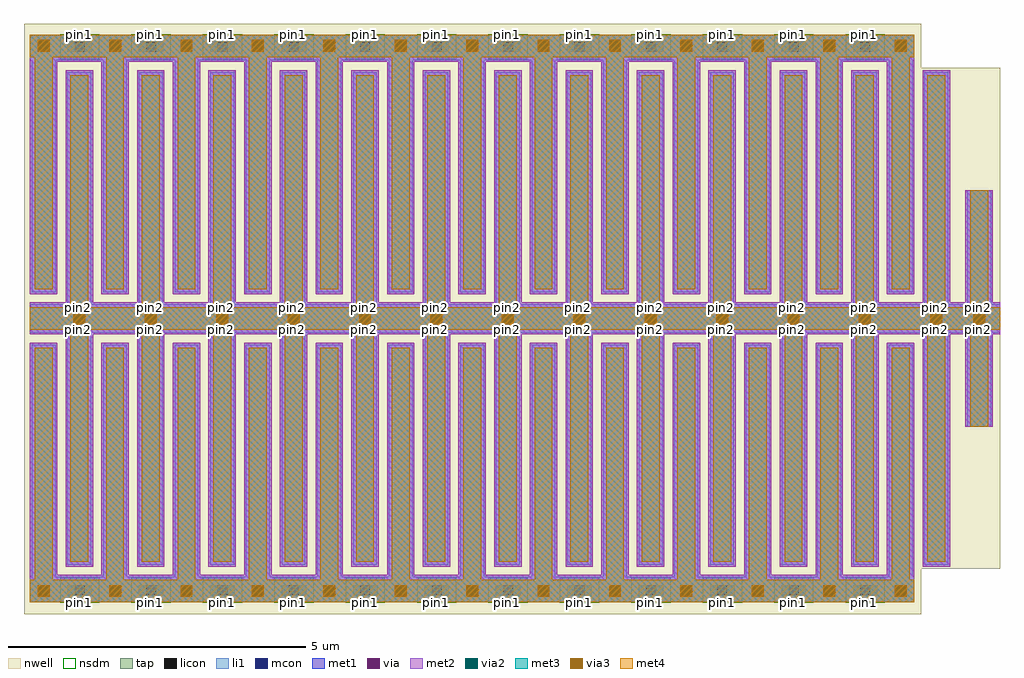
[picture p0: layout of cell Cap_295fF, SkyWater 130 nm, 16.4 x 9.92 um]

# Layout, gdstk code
import gdstk
lib = gdstk.Library(unit=1e-6, precision=1e-09)
def R(c, l, rs):  # rectangles x0, y0, x1, y1
    for r in rs: c.add(gdstk.rectangle(r[:2], r[2:], *l))
def A(c, l, x, y, w, h, nx, ny, dx, dy):  # array of equal rectangles
    R(c, l, [(x+i*dx, y+j*dy, x+i*dx+w, y+j*dy+h) for i in range(nx) for j in range(ny)])
nwell = (64, 20)
tap = (65, 44)
licon = (66, 44)
li1 = (67, 20)
mcon = (67, 44)
met1 = (68, 20)
via = (68, 44)
met2 = (69, 20)
via2 = (69, 44)
met3 = (70, 20)
via3 = (70, 44)
met4 = (71, 20)
nsdm = (93, 44)

cap_295ff = lib.new_cell('Cap_295fF')
R(cap_295ff, nwell, [(-0.18,-0.28,14.9,0.48), (-0.18,0.48,16.22,8.9), (-0.18,8.9,14.9,9.64)])
A(cap_295ff, tap, 0.55, 0.04, 0.41, 0.17, 12, 2, 1.2, 9.13)
A(cap_295ff, licon, 0.67, 0.04, 0.17, 0.17, 12, 2, 1.2, 9.13)
A(cap_295ff, li1, -0.05, 0.35, 0.4, 3.9, 13, 2, 1.2, 4.78)
A(cap_295ff, li1, 0.55, 0.55, 0.4, 3.9, 13, 2, 1.2, 4.38)
R(cap_295ff, li1, [(-0.08,-0.08,14.78,0.35), (15.67,2.87,16.07,4.45), (-0.08,4.45,16.22,4.93), (15.67,4.93,16.07,6.84), (-0.08,9.03,14.78,9.46)])
A(cap_295ff, mcon, 0.065, 0.025, 0.17, 0.17, 13, 2, 1.2, 9.16)
A(cap_295ff, mcon, 0.665, 4.605, 0.17, 0.17, 13, 1, 1.2, 0)
R(cap_295ff, mcon, [(15.785,4.605,15.955,4.775)])
A(cap_295ff, met1, -0.08, 0.38, 0.46, 3.9, 13, 2, 1.2, 4.72)
A(cap_295ff, met1, 0.52, 0.52, 0.46, 3.9, 13, 2, 1.2, 4.44)
R(cap_295ff, met1, [(-0.08,-0.08,14.78,0.38), (15.64,2.87,16.1,4.42), (-0.08,4.42,16.22,4.96), (15.64,4.96,16.1,6.84), (-0.08,9,14.78,9.46)])
A(cap_295ff, via, 0.075, 0.035, 0.15, 0.15, 13, 2, 1.2, 9.16)
A(cap_295ff, via, 0.675, 4.615, 0.15, 0.15, 13, 1, 1.2, 0)
R(cap_295ff, via, [(15.795,4.615,15.945,4.765)])
A(cap_295ff, met2, -0.08, 0.38, 0.46, 3.9, 13, 2, 1.2, 4.72)
A(cap_295ff, met2, 0.52, 0.52, 0.46, 3.9, 13, 2, 1.2, 4.44)
R(cap_295ff, met2, [(-0.08,-0.08,14.78,0.38), (15.64,2.87,16.1,4.42), (-0.08,4.42,16.22,4.96), (15.64,4.96,16.1,6.84), (-0.08,9,14.78,9.46)])
A(cap_295ff, via2, 0.05, 0.01, 0.2, 0.2, 13, 2, 1.2, 9.16)
A(cap_295ff, via2, 0.65, 4.59, 0.2, 0.2, 13, 1, 1.2, 0)
R(cap_295ff, via2, [(15.77,4.59,15.97,4.79)])
A(cap_295ff, met3, 0, 0.3, 0.3, 3.9, 13, 2, 1.2, 4.88)
A(cap_295ff, met3, 0.6, 0.6, 0.3, 3.9, 13, 2, 1.2, 4.28)
R(cap_295ff, met3, [(-0.08,-0.08,14.78,0.3), (15.72,2.87,16.02,4.5), (-0.08,4.5,16.22,4.88), (15.72,4.88,16.02,6.84), (-0.08,9.08,14.78,9.46)])
A(cap_295ff, via3, 0.05, 0.01, 0.2, 0.2, 13, 2, 1.2, 9.16)
A(cap_295ff, via3, 0.65, 4.59, 0.2, 0.2, 13, 1, 1.2, 0)
R(cap_295ff, via3, [(15.77,4.59,15.97,4.79)])
A(cap_295ff, met4, 0, 0.3, 0.3, 3.9, 13, 2, 1.2, 4.88)
A(cap_295ff, met4, 0.6, 0.6, 0.3, 3.9, 13, 2, 1.2, 4.28)
R(cap_295ff, met4, [(-0.08,-0.08,14.78,0.3), (15.72,2.87,16.02,4.5), (-0.08,4.5,16.22,4.88), (15.72,4.88,16.02,6.84), (-0.08,9.08,14.78,9.46)])
A(cap_295ff, nsdm, 0.425, -0.085, 0.66, 0.42, 12, 2, 1.2, 9.13)
cap_295ff.add(gdstk.Label('pin1', (0.75,-0.08), layer=71, texttype=5))
cap_295ff.add(gdstk.Label('pin1', (1.95,-0.08), layer=71, texttype=5))
cap_295ff.add(gdstk.Label('pin1', (3.15,-0.08), layer=71, texttype=5))
cap_295ff.add(gdstk.Label('pin1', (3.15,9.46), layer=71, texttype=5))
cap_295ff.add(gdstk.Label('pin1', (1.95,9.46), layer=71, texttype=5))
cap_295ff.add(gdstk.Label('pin1', (0.75,9.46), layer=71, texttype=5))
cap_295ff.add(gdstk.Label('pin1', (4.35,-0.08), layer=71, texttype=5))
cap_295ff.add(gdstk.Label('pin1', (5.55,-0.08), layer=71, texttype=5))
cap_295ff.add(gdstk.Label('pin1', (6.75,-0.08), layer=71, texttype=5))
cap_295ff.add(gdstk.Label('pin1', (6.75,9.46), layer=71, texttype=5))
cap_295ff.add(gdstk.Label('pin1', (5.55,9.46), layer=71, texttype=5))
cap_295ff.add(gdstk.Label('pin1', (4.35,9.46), layer=71, texttype=5))
cap_295ff.add(gdstk.Label('pin1', (7.95,-0.08), layer=71, texttype=5))
cap_295ff.add(gdstk.Label('pin1', (9.15,-0.08), layer=71, texttype=5))
cap_295ff.add(gdstk.Label('pin1', (10.35,-0.08), layer=71, texttype=5))
cap_295ff.add(gdstk.Label('pin1', (10.35,9.46), layer=71, texttype=5))
cap_295ff.add(gdstk.Label('pin1', (9.15,9.46), layer=71, texttype=5))
cap_295ff.add(gdstk.Label('pin1', (7.95,9.46), layer=71, texttype=5))
cap_295ff.add(gdstk.Label('pin1', (11.55,-0.08), layer=71, texttype=5))
cap_295ff.add(gdstk.Label('pin1', (12.75,-0.08), layer=71, texttype=5))
cap_295ff.add(gdstk.Label('pin1', (13.95,-0.08), layer=71, texttype=5))
cap_295ff.add(gdstk.Label('pin1', (13.95,9.46), layer=71, texttype=5))
cap_295ff.add(gdstk.Label('pin1', (12.75,9.46), layer=71, texttype=5))
cap_295ff.add(gdstk.Label('pin1', (11.55,9.46), layer=71, texttype=5))
cap_295ff.add(gdstk.Label('pin2', (0.74,4.88), layer=71, texttype=5))
cap_295ff.add(gdstk.Label('pin2', (1.94,4.88), layer=71, texttype=5))
cap_295ff.add(gdstk.Label('pin2', (3.14,4.88), layer=71, texttype=5))
cap_295ff.add(gdstk.Label('pin2', (3.14,4.5), layer=71, texttype=5))
cap_295ff.add(gdstk.Label('pin2', (1.94,4.5), layer=71, texttype=5))
cap_295ff.add(gdstk.Label('pin2', (0.74,4.5), layer=71, texttype=5))
cap_295ff.add(gdstk.Label('pin2', (4.34,4.88), layer=71, texttype=5))
cap_295ff.add(gdstk.Label('pin2', (5.54,4.88), layer=71, texttype=5))
cap_295ff.add(gdstk.Label('pin2', (6.74,4.88), layer=71, texttype=5))
cap_295ff.add(gdstk.Label('pin2', (6.74,4.5), layer=71, texttype=5))
cap_295ff.add(gdstk.Label('pin2', (5.54,4.5), layer=71, texttype=5))
cap_295ff.add(gdstk.Label('pin2', (4.34,4.5), layer=71, texttype=5))
cap_295ff.add(gdstk.Label('pin2', (7.94,4.88), layer=71, texttype=5))
cap_295ff.add(gdstk.Label('pin2', (9.14,4.88), layer=71, texttype=5))
cap_295ff.add(gdstk.Label('pin2', (10.34,4.88), layer=71, texttype=5))
cap_295ff.add(gdstk.Label('pin2', (10.34,4.5), layer=71, texttype=5))
cap_295ff.add(gdstk.Label('pin2', (9.14,4.5), layer=71, texttype=5))
cap_295ff.add(gdstk.Label('pin2', (7.94,4.5), layer=71, texttype=5))
cap_295ff.add(gdstk.Label('pin2', (11.54,4.88), layer=71, texttype=5))
cap_295ff.add(gdstk.Label('pin2', (12.74,4.88), layer=71, texttype=5))
cap_295ff.add(gdstk.Label('pin2', (13.94,4.88), layer=71, texttype=5))
cap_295ff.add(gdstk.Label('pin2', (13.94,4.5), layer=71, texttype=5))
cap_295ff.add(gdstk.Label('pin2', (12.74,4.5), layer=71, texttype=5))
cap_295ff.add(gdstk.Label('pin2', (11.54,4.5), layer=71, texttype=5))
cap_295ff.add(gdstk.Label('pin2', (15.14,4.88), layer=71, texttype=5))
cap_295ff.add(gdstk.Label('pin2', (15.14,4.5), layer=71, texttype=5))
cap_295ff.add(gdstk.Label('pin2', (15.86,4.5), layer=71, texttype=5))
cap_295ff.add(gdstk.Label('pin2', (15.86,4.88), layer=71, texttype=5))

lib.write_gds('Cap_295fF.gds')
